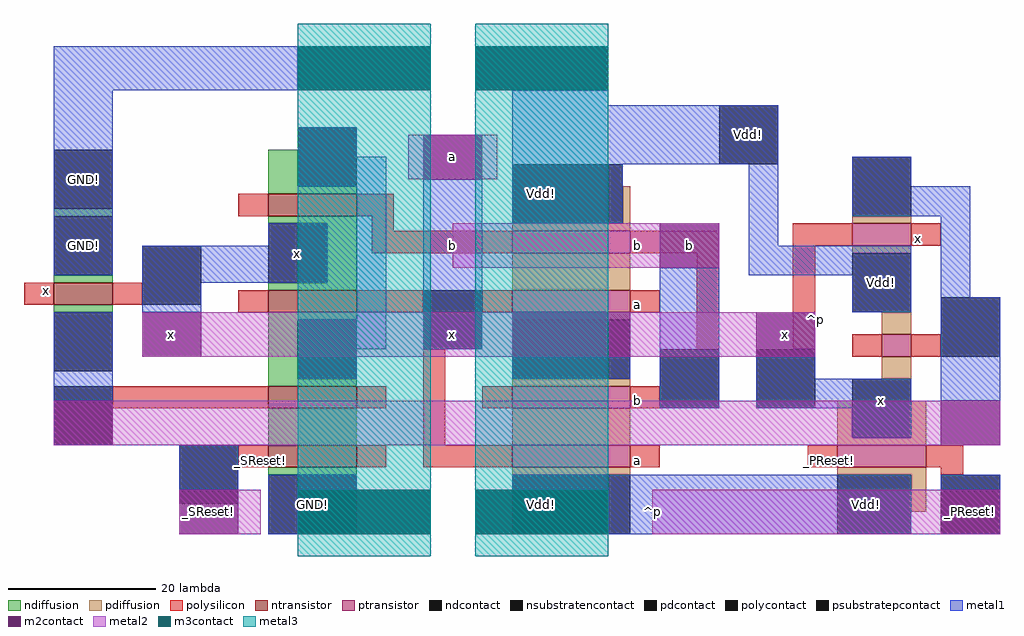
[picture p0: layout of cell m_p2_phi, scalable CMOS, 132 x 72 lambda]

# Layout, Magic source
magic
tech scmos
<< ndiffusion >>
rect -25 10 -21 15
rect -25 9 -13 10
rect -54 6 -46 7
rect -25 5 -13 6
rect -54 -3 -46 -2
rect -17 -3 -13 5
rect -25 -4 -13 -3
rect -54 -7 -46 -6
rect -25 -8 -13 -7
rect -25 -16 -21 -8
rect -25 -17 -13 -16
rect -25 -25 -13 -20
rect -25 -29 -13 -28
<< pdiffusion >>
rect 23 5 24 10
rect 54 5 62 6
rect 8 4 24 5
rect 8 -4 24 1
rect 8 -8 24 -7
rect 54 1 62 2
rect 58 -10 62 -7
rect 8 -17 24 -16
rect 58 -16 62 -13
rect 8 -25 24 -20
rect 52 -24 54 -19
rect 62 -24 64 -19
rect 52 -25 64 -24
rect 8 -29 24 -28
rect 52 -29 64 -28
rect 62 -34 64 -29
<< ntransistor >>
rect -25 6 -13 9
rect -54 -6 -46 -3
rect -25 -7 -13 -4
rect -25 -20 -13 -17
rect -25 -28 -13 -25
<< ptransistor >>
rect 8 1 24 4
rect 8 -7 24 -4
rect 54 2 62 5
rect 8 -20 24 -17
rect 58 -13 62 -10
rect 8 -28 24 -25
rect 52 -28 64 -25
<< polysilicon >>
rect -29 6 -25 9
rect -13 6 -8 9
rect -58 -6 -54 -3
rect -46 -6 -42 -3
rect -11 4 -8 6
rect -11 1 8 4
rect 24 1 36 4
rect -29 -7 -25 -4
rect -13 -7 -4 -4
rect 4 -7 8 -4
rect 24 -7 28 -4
rect -46 -20 -25 -17
rect -13 -20 -9 -17
rect -4 -25 -1 -12
rect 33 -12 36 1
rect 46 2 54 5
rect 62 2 66 5
rect 46 -12 49 2
rect 4 -20 8 -17
rect 24 -20 28 -17
rect 54 -13 58 -10
rect 62 -13 66 -10
rect -29 -28 -25 -25
rect -13 -28 -9 -25
rect -4 -28 8 -25
rect 24 -28 28 -25
rect 48 -28 52 -25
rect 64 -28 69 -25
rect 66 -29 69 -28
<< ndcontact >>
rect -21 10 -13 18
rect -54 -2 -46 6
rect -25 -3 -17 5
rect -54 -15 -46 -7
rect -21 -16 -13 -8
rect -25 -37 -13 -29
<< pdcontact >>
rect 8 5 23 13
rect 54 6 62 14
rect 8 -16 24 -8
rect 54 -7 62 1
rect 54 -24 62 -16
rect 8 -37 24 -29
rect 52 -37 62 -29
<< psubstratepcontact >>
rect -54 7 -46 15
<< nsubstratencontact >>
rect 36 13 44 21
<< polycontact >>
rect -42 -6 -34 2
rect -4 -12 4 -4
rect -54 -25 -46 -17
rect 28 -20 36 -12
rect 41 -20 49 -12
rect 66 -13 74 -5
rect -37 -33 -29 -25
rect 66 -37 74 -29
<< metal1 >>
rect -54 23 -21 29
rect -54 -2 -46 23
rect 8 21 21 23
rect -21 14 -13 18
rect -21 10 -9 14
rect -25 2 -17 5
rect -42 -3 -17 2
rect -42 -7 -34 -3
rect -54 -19 -46 -7
rect -13 -8 -9 10
rect -21 -12 -9 -8
rect -4 -12 4 11
rect 8 13 44 21
rect 8 5 23 13
rect -21 -16 -13 -12
rect 8 -16 24 -13
rect 28 -20 36 -1
rect 40 2 44 13
rect 54 10 62 14
rect 54 6 70 10
rect 40 -2 62 2
rect 54 -7 62 -2
rect 66 -5 70 6
rect 41 -16 49 -13
rect 41 -20 62 -16
rect 54 -24 62 -20
rect 66 -19 74 -5
rect -37 -31 -29 -25
rect -25 -31 -13 -29
rect 8 -31 62 -29
rect -25 -37 -21 -31
rect 21 -37 62 -31
rect 66 -31 74 -29
<< m2contact >>
rect -21 23 -3 29
rect 3 23 21 29
rect -42 -13 -34 -7
rect -4 11 4 17
rect 28 -1 36 5
rect 8 -13 24 -7
rect -54 -25 -46 -19
rect 41 -13 49 -7
rect 66 -25 74 -19
rect -37 -37 -29 -31
rect -21 -37 -3 -31
rect 3 -37 21 -31
rect 66 -37 74 -31
<< metal2 >>
rect -6 11 6 17
rect 0 -1 36 5
rect -42 -13 49 -7
rect -54 -25 74 -19
rect -37 -37 -26 -31
rect 27 -37 74 -31
<< m3contact >>
rect -21 23 -3 29
rect 3 23 21 29
rect -21 -37 -3 -31
rect 3 -37 21 -31
<< metal3 >>
rect -21 -40 -3 32
rect 3 -40 21 32
<< labels >>
rlabel metal1 12 9 12 9 5 Vdd!
rlabel m2contact 12 -33 12 -33 1 Vdd!
rlabel polysilicon 25 -27 25 -27 1 a
rlabel polysilicon 25 -19 25 -19 1 b
rlabel polysilicon 25 -6 25 -6 1 a
rlabel polysilicon 25 2 25 2 1 b
rlabel m2contact -19 -33 -19 -33 1 GND!
rlabel polysilicon -26 -27 -26 -27 1 _SReset!
rlabel metal1 -50 2 -50 2 5 GND!
rlabel metal1 -50 11 -50 11 1 GND!
rlabel polysilicon -55 -4 -55 -4 5 x
rlabel metal2 -33 -34 -33 -34 1 _SReset!
rlabel polysilicon 63 3 63 3 1 x
rlabel metal2 70 -34 70 -34 7 _PReset!
rlabel metal1 58 -19 58 -19 1 x
rlabel polysilicon 51 -27 51 -27 3 _PReset!
rlabel metal1 56 -33 56 -33 1 Vdd!
rlabel metal1 -21 1 -21 1 1 x
rlabel metal1 58 -3 58 -3 5 Vdd!
rlabel metal1 40 17 40 17 1 Vdd!
rlabel space 23 -38 75 22 3 ^p
rlabel metal2 27 -37 27 -31 7 ^p
rlabel metal2 0 -13 0 -7 1 x
rlabel metal2 0 -1 0 5 3 b
rlabel metal2 0 11 0 17 1 a
rlabel metal2 -38 -10 -38 -10 1 x
rlabel metal2 45 -10 45 -10 1 x
rlabel metal2 32 2 32 2 1 b
<< end >>
